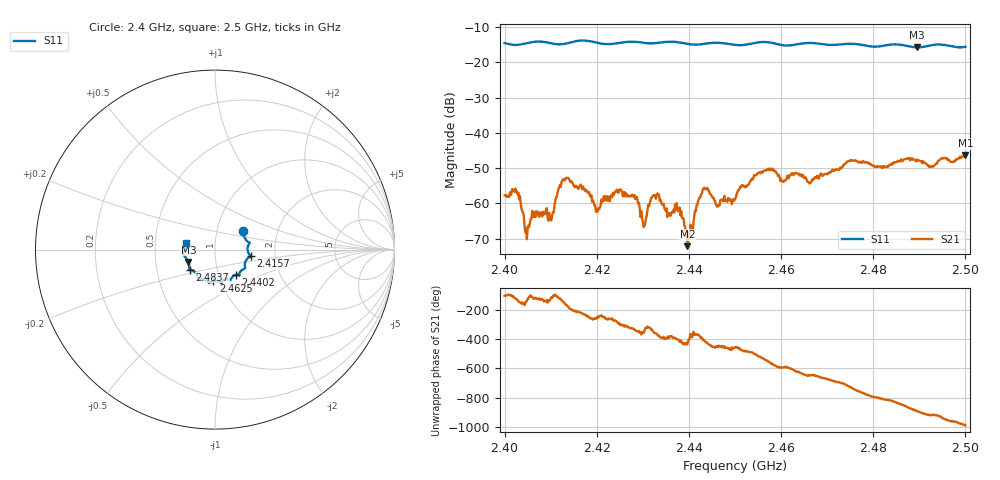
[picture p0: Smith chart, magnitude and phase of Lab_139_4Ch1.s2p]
# Hz S RI R 50
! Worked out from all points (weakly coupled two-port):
!   601 points, 2.4 GHz to 2.5 GHz, reference 50 ohm
!   highest |S21| = -46.35 dB at 2.5 GHz (marker M1); lowest = -72.2 dB at 2.4397 GHz (marker M2)
!   lowest |S11| = -15.7 dB at 2.4895 GHz (marker M3), VSWR 1.39, Z = 36.8 - j5.18 ohm
!   |S11| at or under -10 dB: start of sweep to end of sweep
!   S12 and S22 are empty: the file has one direction only
!   S11 on the Smith chart (normalised r, x): 2.4 GHz: 1.34, +0.29; 2.4157 GHz: 1.49, -0.11; 2.4402 GHz: 1.20, -0.35; 2.4625 GHz: 0.92, -0.34; 2.4837 GHz: 0.74, -0.17; 2.5 GHz: 0.72, +0.05
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2.4e9  0.1567 0.1055  -0.000335 -0.00125  0 0  0 0
2.402833e9  0.166 0.0638  -0.000961 -0.000921  0 0  0 0
2.404833e9  0.183 0.0439  -0.000241 -0.000193  0 0  0 0
2.41e9  0.1863 0.0255  -0.000336 -0.000475  0 0  0 0
2.413e9  0.1836 -0.012  -0.00191 -0.000893  0 0  0 0
2.415667e9  0.1987 -0.0364  -0.00136 0.00101  0 0  0 0
2.416667e9  0.2014 -0.0398  -0.00127 0.00116  0 0  0 0
2.420167e9  0.1845 -0.0471  -0.000295 0.0007  0 0  0 0
2.428167e9  0.167 -0.1035  0.0012 0.000537  0 0  0 0
2.430333e9  0.1528 -0.1129  0.000459 0.000121  0 0  0 0
2.433333e9  0.1358 -0.1334  0.00128 -0.000394  0 0  0 0
2.439667e9  0.1186 -0.1398  6.3e-05 -0.000238  0 0  0 0
2.440167e9  0.1143 -0.1407  0.000315 -0.000218  0 0  0 0
2.4435e9  0.0902 -0.1612  0.000889 -0.00135  0 0  0 0
2.45e9  0.0641 -0.1659  -0.000119 -0.00115  0 0  0 0
2.456667e9  0.0385 -0.1914  -0.00291 0.000122  0 0  0 0
2.4625e9  -0.00995 -0.1765  -0.00107 0.00244  0 0  0 0
2.466667e9  -0.0332 -0.1863  0.000593 0.00198  0 0  0 0
2.483333e9  -0.1381 -0.1121  -0.000434 -0.00338  0 0  0 0
2.483667e9  -0.14 -0.1117  -0.000487 -0.0035  0 0  0 0
2.4895e9  -0.1483 -0.0685  -0.00414 -0.000543  0 0  0 0
2.5e9  -0.163 0.0363  -6.24e-05 0.00482  0 0  0 0
